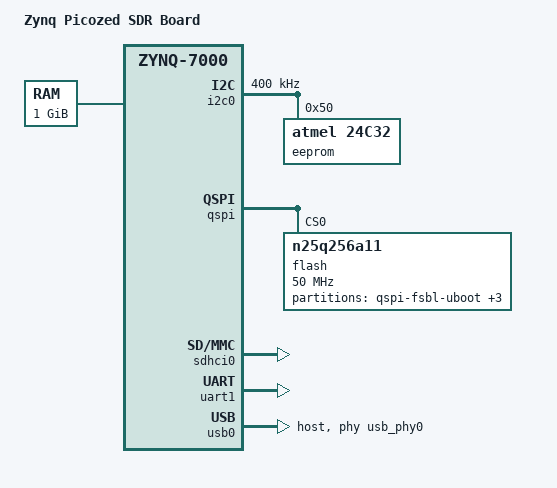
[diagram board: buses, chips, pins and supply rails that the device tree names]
/*
 * Analog Devices Inc. Pluto SDR board DTS
 *
 * Copyright (C) 2015-2018 Analog Devices Inc.
 *
 * SPDX-License-Identifier:  GPL-2.0+
 */
/dts-v1/;
#include "zynq-7000.dtsi"

/ {
  model = "Zynq Picozed SDR Board";
  compatible = "xlnx,zynq-7000";

  aliases {
    ethernet0 = &gem0;
    i2c0 = &i2c0;
    serial0 = &uart1;
    spi0 = &qspi;
    mmc0 = &sdhci0;
  };

  memory@0 {
    device_type = "memory";
    reg = <0x0 0x40000000>;
  };

  chosen {
    bootargs = "";
    stdout-path = "serial0:115200n8";
  };

  usb_phy0: phy0@e0002000 {
    compatible = "ulpi-phy";
    #phy-cells = <0>;
    reg = <0xe0002000 0x1000>;
    view-port = <0x0170>;
    drv-vbus;
  };
};

&clkc {
  ps-clk-frequency = <33333333>;
};

&gem0 {
  status = "disabled"; /* "okay" to enable */
  phy-mode = "rgmii-id";
  phy-handle = <&ethernet_phy>;

  phy-reset-gpios = <&gpio0 8 0>;
  phy-reset-active-low;

  ethernet_phy: ethernet-phy@0 {
    reg = <0>;
    device_type = "ethernet-phy";
  };
};

&i2c0 {
  status = "okay";
  clock-frequency = <400000>;
  #address-cells = <1>;
  #size-cells = <0>;

  eeprom@50 {
    compatible = "atmel,24c32";
    reg = <0x50>;
  };

};

&qspi {
  u-boot,dm-pre-reloc;
  status = "okay";
  is-dual = <0>;
  num-cs = <1>;
  flash@0 {
    compatible = "n25q256a11", "jedec,spi-nor";
    reg = <0x0>;
    spi-tx-bus-width = <1>;
    spi-rx-bus-width = <4>;
    spi-max-frequency = <50000000>;
    #address-cells = <1>;
    #size-cells = <1>;
    
    partition@qspi-fsbl-uboot {
      label = "qspi-fsbl-uboot";
      reg = <0x0 0x100000>; /* 1M */
    };
    partition@qspi-uboot-env {
      label = "qspi-uboot-env";
      reg = <0x100000 0x20000>; /* 128k */
    };
    partition@qspi-nvmfs {
      label = "qspi-nvmfs";
      reg = <0x120000 0xE0000>; /* 1M */
    };
    partition@qspi-linux {
      label = "qspi-linux";
      reg = <0x200000 0x1E00000>; /* 30M */
    };
  };
};

&sdhci0 {
  u-boot,dm-pre-reloc;
  status = "okay";
};

&uart1 {
  u-boot,dm-pre-reloc;
  status = "okay";
};

&usb0 {
  status = "okay";
  dr_mode = "host";
  usb-phy = <&usb_phy0>;
};

&watchdog0 {
  reset-on-timeout;
};
